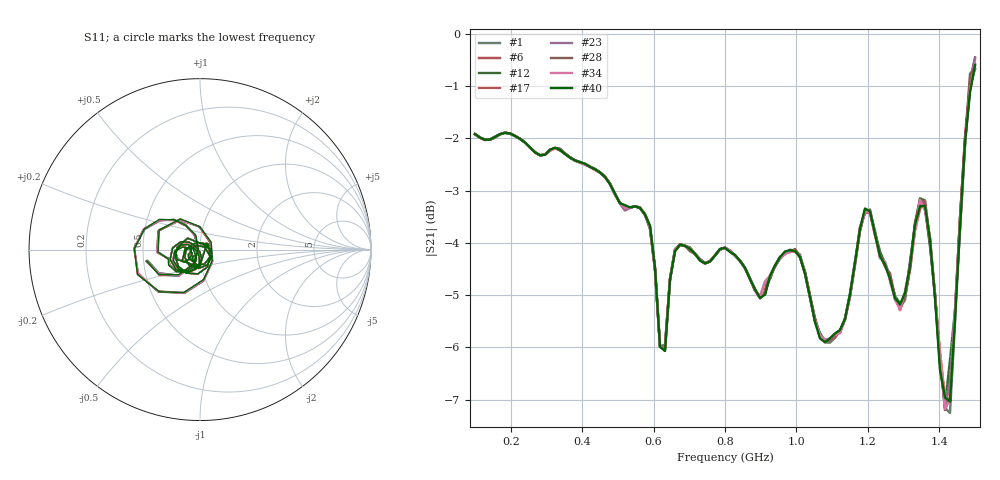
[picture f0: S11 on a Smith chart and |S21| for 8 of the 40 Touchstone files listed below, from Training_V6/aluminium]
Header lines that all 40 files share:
! NanoVNA-App
! Start: 100MHz Stop: 1,5GHz Points: 101
! S-Parameter data: F S11 S21 S12 S22
# Hz S RI R 50
!  Frequency  S11_Real  S11_Imag  S21_Real  S21_Imag  S12_Real  S12_Imag  S22_Real  S22_Imag
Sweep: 100 MHz to 1.5 GHz
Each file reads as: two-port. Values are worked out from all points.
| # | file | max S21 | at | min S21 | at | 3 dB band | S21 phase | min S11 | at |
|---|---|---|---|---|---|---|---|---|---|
| 1 | aluminium (201).s2p | -0.58 dB | 1.5 GHz | -7.3 dB | 1.43 GHz | 100 MHz-576 MHz | 127 deg at 800 MHz | -37.5 dB | 1.444 GHz |
| 2 | aluminium (202).s2p | -0.52 dB | 1.5 GHz | -7.3 dB | 1.416 GHz | 100 MHz-576 MHz | 127 deg at 800 MHz | -39.3 dB | 1.444 GHz |
| 3 | aluminium (203).s2p | -0.44 dB | 1.5 GHz | -7.3 dB | 1.416 GHz | 100 MHz-562 MHz | 127 deg at 800 MHz | -36.8 dB | 870 MHz |
| 4 | aluminium (204).s2p | -0.38 dB | 1.5 GHz | -7.1 dB | 1.416 GHz | 100 MHz-562 MHz | 127 deg at 800 MHz | -42.7 dB | 1.444 GHz |
| 5 | aluminium (205).s2p | -0.48 dB | 1.5 GHz | -7.1 dB | 1.416 GHz | 100 MHz-562 MHz | 127 deg at 800 MHz | -43.1 dB | 1.444 GHz |
| 6 | aluminium (206).s2p | -0.46 dB | 1.5 GHz | -7.2 dB | 1.416 GHz | 100 MHz-576 MHz | 127 deg at 800 MHz | -38.3 dB | 1.444 GHz |
| 7 | aluminium (207).s2p | -0.59 dB | 1.5 GHz | -7.2 dB | 1.416 GHz | 100 MHz-576 MHz | 127 deg at 800 MHz | -37.1 dB | 870 MHz |
| 8 | aluminium (208).s2p | -0.69 dB | 1.5 GHz | -7.3 dB | 1.416 GHz | 100 MHz-576 MHz | 127 deg at 800 MHz | -39.0 dB | 1.444 GHz |
| 9 | aluminium (209).s2p | -0.66 dB | 1.5 GHz | -7.0 dB | 1.416 GHz | 100 MHz-576 MHz | 127 deg at 800 MHz | -37.8 dB | 1.444 GHz |
| 10 | aluminium (210).s2p | -0.56 dB | 1.5 GHz | -7.0 dB | 1.416 GHz | 100 MHz-576 MHz | 127 deg at 800 MHz | -41.5 dB | 1.444 GHz |
| 11 | aluminium (211).s2p | -0.63 dB | 1.5 GHz | -7.0 dB | 1.416 GHz | 100 MHz-576 MHz | 127 deg at 800 MHz | -37.4 dB | 1.444 GHz |
| 12 | aluminium (212).s2p | -0.67 dB | 1.5 GHz | -7.1 dB | 1.416 GHz | 100 MHz-576 MHz | 127 deg at 800 MHz | -37.1 dB | 870 MHz |
| 13 | aluminium (213).s2p | -0.50 dB | 1.5 GHz | -7.1 dB | 1.416 GHz | 100 MHz-576 MHz | 127 deg at 800 MHz | -37.0 dB | 870 MHz |
| 14 | aluminium (214).s2p | -0.58 dB | 1.5 GHz | -7.2 dB | 1.416 GHz | 100 MHz-576 MHz | 127 deg at 800 MHz | -37.4 dB | 1.444 GHz |
| 15 | aluminium (215).s2p | -0.46 dB | 1.5 GHz | -6.9 dB | 1.416 GHz | 100 MHz-562 MHz | 127 deg at 800 MHz | -41.6 dB | 1.444 GHz |
| 16 | aluminium (216).s2p | -0.54 dB | 1.5 GHz | -7.1 dB | 1.416 GHz | 100 MHz-576 MHz | 127 deg at 800 MHz | -37.1 dB | 870 MHz |
| 17 | aluminium (217).s2p | -0.49 dB | 1.5 GHz | -7.0 dB | 1.416 GHz | 100 MHz-576 MHz | 127 deg at 800 MHz | -38.5 dB | 1.444 GHz |
| 18 | aluminium (218).s2p | -0.54 dB | 1.5 GHz | -7.3 dB | 1.43 GHz | 100 MHz-576 MHz | 127 deg at 800 MHz | -36.9 dB | 1.444 GHz |
| 19 | aluminium (219).s2p | -0.42 dB | 1.5 GHz | -7.2 dB | 1.416 GHz | 100 MHz-562 MHz | 127 deg at 800 MHz | -37.0 dB | 1.444 GHz |
| 20 | aluminium (220).s2p | -0.76 dB | 1.5 GHz | -7.2 dB | 1.416 GHz | 100 MHz-590 MHz | 127 deg at 800 MHz | -41.2 dB | 1.444 GHz |
| 21 | aluminium (221).s2p | -0.57 dB | 1.5 GHz | -7.1 dB | 1.416 GHz | 100 MHz-576 MHz | 127 deg at 800 MHz | -37.2 dB | 1.444 GHz |
| 22 | aluminium (222).s2p | -0.54 dB | 1.5 GHz | -7.0 dB | 1.416 GHz | 100 MHz-576 MHz | 127 deg at 800 MHz | -39.8 dB | 1.444 GHz |
| 23 | aluminium (223).s2p | -0.45 dB | 1.5 GHz | -7.1 dB | 1.416 GHz | 100 MHz-562 MHz | 127 deg at 800 MHz | -37.2 dB | 870 MHz |
| 24 | aluminium (224).s2p | -0.49 dB | 1.5 GHz | -7.0 dB | 1.416 GHz | 100 MHz-576 MHz | 127 deg at 800 MHz | -37.4 dB | 1.444 GHz |
| 25 | aluminium (225).s2p | -0.57 dB | 1.5 GHz | -7.2 dB | 1.416 GHz | 100 MHz-576 MHz | 127 deg at 800 MHz | -38.9 dB | 1.444 GHz |
| 26 | aluminium (226).s2p | -0.60 dB | 1.5 GHz | -7.1 dB | 1.416 GHz | 100 MHz-576 MHz | 127 deg at 800 MHz | -37.8 dB | 1.444 GHz |
| 27 | aluminium (227).s2p | -0.56 dB | 1.5 GHz | -7.2 dB | 1.416 GHz | 100 MHz-576 MHz | 127 deg at 800 MHz | -37.2 dB | 870 MHz |
| 28 | aluminium (228).s2p | -0.68 dB | 1.5 GHz | -7.2 dB | 1.416 GHz | 100 MHz-576 MHz | 127 deg at 800 MHz | -38.5 dB | 1.444 GHz |
| 29 | aluminium (229).s2p | -0.56 dB | 1.5 GHz | -7.2 dB | 1.416 GHz | 100 MHz-576 MHz | 127 deg at 800 MHz | -37.0 dB | 1.444 GHz |
| 30 | aluminium (230).s2p | -0.61 dB | 1.5 GHz | -7.2 dB | 1.416 GHz | 100 MHz-576 MHz | 127 deg at 800 MHz | -37.0 dB | 870 MHz |
| 31 | aluminium (231).s2p | -0.60 dB | 1.5 GHz | -7.1 dB | 1.416 GHz | 100 MHz-576 MHz | 127 deg at 800 MHz | -37.2 dB | 1.444 GHz |
| 32 | aluminium (232).s2p | -0.43 dB | 1.5 GHz | -7.2 dB | 1.416 GHz | 100 MHz-562 MHz | 127 deg at 800 MHz | -36.9 dB | 870 MHz |
| 33 | aluminium (233).s2p | -0.36 dB | 1.5 GHz | -7.1 dB | 1.416 GHz | 100 MHz-562 MHz | 127 deg at 800 MHz | -36.8 dB | 870 MHz |
| 34 | aluminium (234).s2p | -0.63 dB | 1.5 GHz | -7.2 dB | 1.416 GHz | 100 MHz-576 MHz | 127 deg at 800 MHz | -36.9 dB | 870 MHz |
| 35 | aluminium (235).s2p | -0.65 dB | 1.5 GHz | -7.2 dB | 1.416 GHz | 100 MHz-576 MHz | 127 deg at 800 MHz | -37.2 dB | 870 MHz |
| 36 | aluminium (236).s2p | -0.63 dB | 1.5 GHz | -7.1 dB | 1.416 GHz | 100 MHz-576 MHz | 127 deg at 800 MHz | -37.5 dB | 1.444 GHz |
| 37 | aluminium (237).s2p | -0.48 dB | 1.5 GHz | -7.2 dB | 1.416 GHz | 100 MHz-576 MHz | 127 deg at 800 MHz | -40.1 dB | 1.444 GHz |
| 38 | aluminium (238).s2p | -0.47 dB | 1.5 GHz | -7.1 dB | 1.416 GHz | 100 MHz-576 MHz | 127 deg at 800 MHz | -41.7 dB | 1.444 GHz |
| 39 | aluminium (239).s2p | -0.32 dB | 1.5 GHz | -7.1 dB | 1.416 GHz | 100 MHz-506 MHz | 127 deg at 800 MHz | -43.9 dB | 1.444 GHz |
| 40 | aluminium (240).s2p | -0.60 dB | 1.5 GHz | -7.0 dB | 1.43 GHz | 100 MHz-576 MHz | 127 deg at 800 MHz | -39.9 dB | 1.444 GHz |
